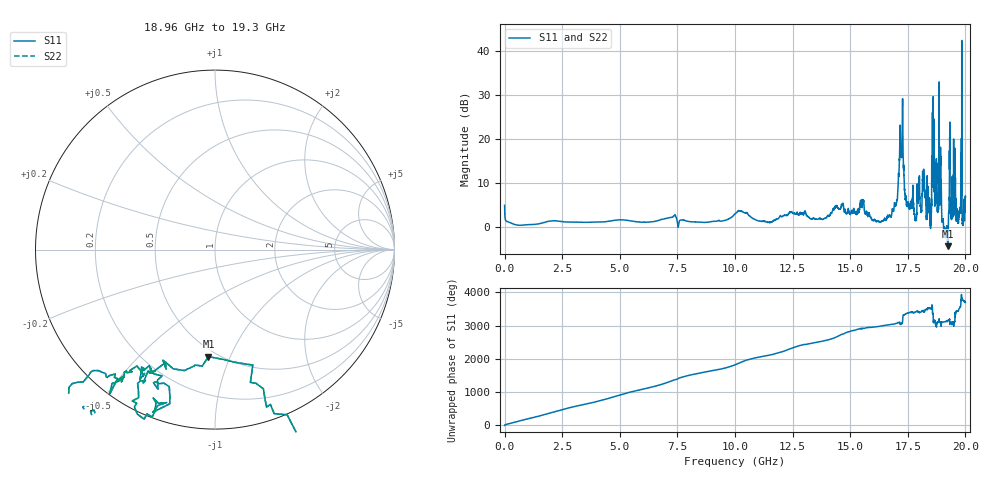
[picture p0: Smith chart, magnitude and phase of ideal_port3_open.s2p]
! Created with skrf (http://scikit-rf.org).
# GHz S RI R 50.0
!freq ReS11 ImS11 ReS21 ImS21 ReS12 ImS12 ReS22 ImS22
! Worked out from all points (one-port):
!   10001 points, 1 MHz to 20 GHz, reference 50 ohm
!   lowest |S11| = -4.5 dB at 19.24 GHz (marker M1), VSWR 3.97, Z = 22.5 - j41.7 ohm
!   |S11| at or under -10 dB: nowhere
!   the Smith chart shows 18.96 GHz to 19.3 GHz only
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0.001  1.704 -0.384  0 0  0 0  1.704 -0.384
0.9089546  -1.031 0.1767  0 0  0 0  -1.031 0.1767
1.956902  1.153 -0.0392  0 0  0 0  1.153 -0.0392
3.334833  -0.4814 -1.011  0 0  0 0  -0.4814 -1.011
6.668667  -0.5392 1.04  0 0  0 0  -0.5392 1.04
7.328634  0.0584 -1.306  0 0  0 0  0.0584 -1.306
8.962552  -1.105 -0.2661  0 0  0 0  -1.105 -0.2661
10.0005  1.348 0.3628  0 0  0 0  1.348 0.3628
10.56447  -1.359 0.2277  0 0  0 0  -1.359 0.2277
13.33433  0.7665 -0.9564  0 0  0 0  0.7665 -0.9564
14.53827  -1.58 -0.1445  0 0  0 0  -1.58 -0.1445
15.50822  1.688 0.784  0 0  0 0  1.688 0.784
16.66817  -1.055 0.7901  0 0  0 0  -1.055 0.7901
17.02815  -1.968 -0.3979  0 0  0 0  -1.968 -0.3979
17.17214  -12.03 3.729  0 0  0 0  -12.03 3.729
17.37413  -0.2909 2.289  0 0  0 0  -0.2909 2.289
18.15209  -3.244 -1.235  0 0  0 0  -3.244 -1.235
18.46808  0.2711 -1.14  0 0  0 0  0.2711 -1.14
18.67007  -0.0898 -1.793  0 0  0 0  -0.0898 -1.793
19.23804  -0.0363 -0.5965  0 0  0 0  -0.0363 -0.5965
19.906  -1.074 0.2557  0 0  0 0  -1.074 0.2557
20  -0.2014 2.152  0 0  0 0  -0.2014 2.152
